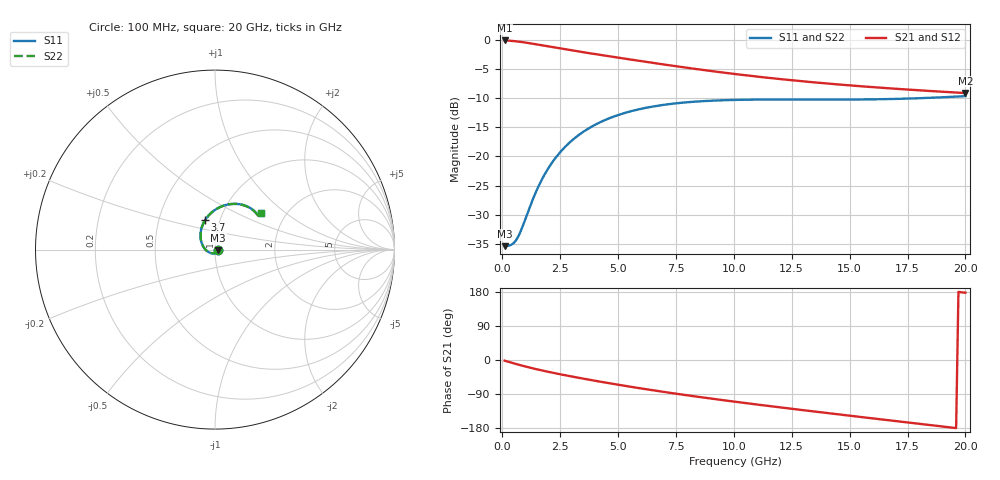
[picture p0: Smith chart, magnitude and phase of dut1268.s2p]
! Touchstone file exported from HFSS 2024.1.0
!  File:  C:/UserFiles/LocalFiles/RDL_TSV_Batchsim/temp_RDL_TSV_1268_1780273849.aedt
!  Generated:  08:49:33 AM Jun  1, 2026
!  Design:  RDL_TSV
!  Project:  temp_RDL_TSV_1268_1780273849
!  Setup:  Setup1
!  Solution:  Sweep
! Variables:
!  dtsv = 14.74um
!  hbump = 3um
!  htsv = 82.03um
!  ldown = 197.84um
!  lrdl = 401.35um
!  p = 40
!  p1 = 51.63um
!  rhole = 10um
!  subl = 2198.92um
!  t = 450um
!  tdown = 2.27um
!  trdl = 3.05um
!  viad = 10um
!  wdown = 13.63um
!  wrdl = 18.4um
!  xbump = 18um
# GHz S MA R 50.000000
! Terminal data exported
! Port[1] = TM1_1_T1
! Port[2] = TM1_4_T1
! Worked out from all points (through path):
!   200 points, 100 MHz to 20 GHz, reference 50 ohm
!   highest |S21| = -0.15 dB at 100 MHz (marker M1); lowest = -9.2 dB at 20 GHz (marker M2)
!   group delay of S21, straight-line fit = 23.7 ps
!   lowest |S11| = -35.4 dB at 100 MHz (marker M3), VSWR 1.03, Z = 51.7 - j0.38 ohm
!   |S11| at or under -10 dB: start of sweep to 18.28 GHz
!   |S22| runs from -35.4 to -9.7 dB; largest |S21 - S12| = 8.1e-15
!   S11 on the Smith chart (normalised r, x): 100 MHz: 1.03, -0.01; 3.7 GHz: 0.85, +0.29; 20 GHz: 1.49, +0.69
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0.1  0.01706 -12.4  0.9824 -1.8  0.9824 -1.8  0.01706 -12.4
! Gamma 0 0 0 0
! Port Impedance 50 0 50 0
0.4  0.01758 -53.5  0.9746 -7.2  0.9746 -7.2  0.01759 -53.4
0.6  0.01923 -84.1  0.9659 -10.6  0.9659 -10.6  0.01923 -84.0
0.7  0.02082 -99.2  0.9607 -12.3  0.9607 -12.3  0.02082 -99.1
1.1  0.03309 -148.1  0.9359 -18.7  0.9359 -18.7  0.03306 -148.0
1.5  0.05208 -178.9  0.9078 -24.6  0.9078 -24.6  0.052 -178.8
1.8  0.06848 164.8  0.8864 -28.8  0.8864 -28.8  0.06836 164.9
2.1  0.08564 151.9  0.8655 -32.7  0.8655 -32.7  0.08548 151.9
2.7  0.12 132.1  0.8262 -40.1  0.8262 -40.1  0.1198 132.1
3.5  0.1625 112.9  0.7788 -49.3  0.7788 -49.3  0.1622 113.0
3.7  0.1723 109.0  0.7677 -51.5  0.7677 -51.5  0.1719 109.0
4.4  0.2033 96.9  0.7305 -59.0  0.7305 -59.0  0.2028 96.9
5.1  0.2293 87.0  0.6955 -66.2  0.6955 -66.2  0.2287 86.9
5.9  0.2531 77.6  0.6581 -74.1  0.6581 -74.1  0.2525 77.5
6.8  0.2732 68.9  0.6191 -82.6  0.6191 -82.6  0.2725 68.8
8.4  0.2949 57.2  0.5584 -96.7  0.5584 -96.7  0.2941 57.1
10.1  0.3046 48.7  0.5056 -110.5  0.5056 -110.5  0.3038 48.6
11.7  0.3068 43.5  0.4656 -122.8  0.4656 -122.8  0.3059 43.4
13.4  0.3063 40.2  0.4314 -135.4  0.4314 -135.4  0.3054 40.2
15  0.3064 38.8  0.4054 -146.9  0.4054 -146.9  0.3055 38.7
16.7  0.3095 38.5  0.3827 -159.1  0.3827 -159.1  0.3085 38.4
20  0.3279 39.0  0.3483 177.5  0.3483 177.5  0.3267 38.9
